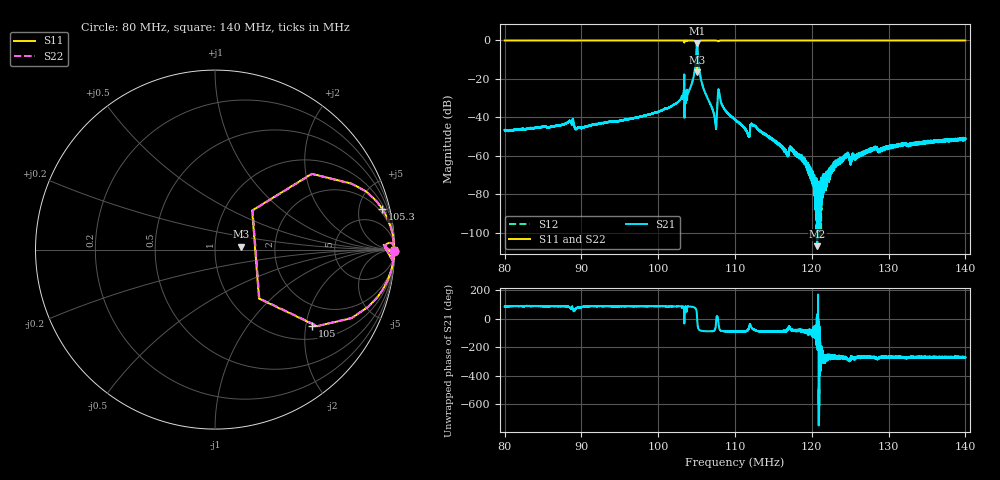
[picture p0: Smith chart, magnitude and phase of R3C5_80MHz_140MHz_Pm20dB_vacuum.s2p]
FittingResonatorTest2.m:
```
%Preconditioning 
clear all
close all
clc

%% Read file

%[filename1, pathname] = uigetfile('.s2p','Select the S-parameter file');
%filename = strcat(pathname, filename1);
currentFolder = pwd;

filename = '\Old optimization\Fitting test\R3C5_80MHz_140MHz_Pm20dB_vacuum.s2p';
filename = strcat(currentFolder,filename)
data = read(rfdata.data, filename);

freq = data.freq;
om=(2*pi).*freq;

%% Extract S-parameters
s_params = extract(data, 'S_PARAMETERS',50);
s11 = squeeze(s_params(1,1,:));
s12 = squeeze(s_params(1,2,:));
s21 = squeeze(s_params(2,1,:));
s22 = squeeze(s_params(2,2,:));

% Read Y-parameters
y_params = s2y(s_params, 50);
y11 = squeeze(y_params(1,1,:));
y12 = squeeze(y_params(1,2,:));
y21 = squeeze(y_params(2,1,:));
y22 = squeeze(y_params(2,2,:));

%% Fitting test

%x = [C0, Q, kt2];

Ydata = -y12;
[Ymax, posYmax] = max(abs(Ydata));
fs = freq(posYmax);
oms = 2*pi*fs;

C0dummy = 100e-15;
Qsdummy = 1000;
kt2dummy = 0.1;
fsdummy = 100e6;

C0 = @(x) C0dummy*x(1); 
Qs = @(x) Qsdummy*x(2);
kt2 = @(x) kt2dummy*x(3);
fs = @(x) fsdummy*x(4);
oms = @(x) 2*pi*fs(x);

Rm = @(x) pi^2/8*1./(oms(x)*C0(x)*kt2(x)*Qs(x));
Lm = @(x) pi^2/8*1./(oms(x)^2*C0(x)*kt2(x));
Cm = @(x) 8/pi^2*C0(x).*kt2(x);

Yfit = @(x) 1i*om*C0(x) + 1./(Rm(x) + 1i*om*Lm(x) + 1./(1i*om*Cm(x)));

%F = @(x) sum(abs(Yfit(x) - Ydata)).^2;
%F = @(x) sum(abs(20*log10(abs(Yfit(x))) - 20*log10(abs(Ydata)))).^2;
F = @(x) sum(abs(angle(Yfit(x)) - angle(Ydata))).^2;

%% Optimization

%Initial guess
x0 = [1 1 1 1];

%Other parameters
A = [];                 %Matrix of linear inequalities unknown
b = [];                 %Vector of known linear inequalities parameters
Aeq = [];               %Matrix of linear equalities unknown
beq = [];               %Vector of known linear inequalities parameters
lb = zeros(4,1);        %Lower boundary (of each x(i))
lb(4) = freq(1)./fsdummy;
%ub = [];                %Upper boundary (of each x(i))
ub = [10 10 10 freq(end)./fsdummy];

%Options
options = optimset;
options.OptimalityTolerance = 0.1e-15;

%Optimization
[x, fval, ef, output, lambda] = fmincon(F, x0, A, b, Aeq, beq, lb, ub, [], options);

C0Fit = x(1)*C0dummy;
QsFit = x(2)*Qsdummy;
kt2Fit = x(3)*kt2dummy;
fsFit = x(4)*fsdummy;

figure(1)
plot(freq/1e6, 20*log10(abs(Ydata)),'LineWidth',3)
hold on
plot(freq/1e6, 20*log10(abs(Yfit(x))),'LineWidth',3)
xlabel('Frequency, {\itf} [MHz]')
ylabel('Admittance, {\itY} [dB]')
grid on
legend('Data','Fitting')

set(gcf,'color','white')
set(gca,'FontSize',13)
```
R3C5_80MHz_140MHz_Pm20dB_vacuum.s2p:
!Agilent Technologies,N5230A,MY45000988,A.06.04.32
!Agilent N5230A: A.06.04.32
!Date: Saturday, August 17, 2019 19:29:45
!Correction: S11(Full 2 Port(1,2)) S21(Full 2 Port(1,2)) S12(Full 2 Port(1,2)) S22(Full 2 Port(1,2))
!S2P File: Measurements: S11, S21, S12, S22:
# Hz S  RI  R 50
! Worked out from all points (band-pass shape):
!   16001 points, 80 MHz to 140 MHz, reference 50 ohm
!   highest |S21| = -1.41 dB at 105.1 MHz (marker M1); lowest = -107.0 dB at 120.7 MHz (marker M2)
!   |S21| within 3 dB of the highest: 105.0124 MHz to 105.1292 MHz (116.8 kHz wide, 0.111 % of centre)
!   lowest |S11| = -16.7 dB at 105.1 MHz (marker M3), VSWR 1.34, Z = 67.1 + j2.25 ohm
!   |S11| at or under -10 dB: 105.0539 MHz to 105.0887 MHz (34.83 kHz wide, 0.0331 % of centre)
!   |S22| runs from -16.5 to 0.0 dB; largest |S21 - S12| = 0.0025
!   S11 on the Smith chart (normalised r, x): 80 MHz: open; 105 MHz: 1.34, -2.17; 105.3 MHz: 1.44, +8.14; 140 MHz: open
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8e7  0.9979 -0.00568  0.000312 0.00459  0.000198 0.00461  0.9976 -0.00649
1.001225e8  0.9975 -0.0164  0.000485 0.0144  0.000394 0.0142  0.9977 -0.0172
1.037075e8  0.9954 -0.0432  0.00261 0.0401  0.00271 0.0401  0.9955 -0.0427
1.050162e8  0.5403 -0.4258  0.4564 0.4226  0.4558 0.4226  0.5432 -0.4252
1.050725e8  0.146 0.0164  0.8501 -0.0188  0.8507 -0.0207  0.1486 0.0171
1.05275e8  0.9324 0.2255  0.0653 -0.2279  0.0652 -0.2276  0.9333 0.2244
1.073225e8  0.9968 0.00688  0.00162 -0.0102  0.00168 -0.0101  0.9965 0.00787
1.1e8  0.9976 0.00528  0.000153 -0.0087  3.77e-05 -0.00861  0.9979 0.00597
1.207025e8  0.9978 -0.00179  3.77e-06 2.4e-06  -6.81e-05 -0.000106  0.9976 -0.00377
1.245088e8  0.9973 -0.00247  0.000223 0.00101  0.000153 0.000969  0.9973 -0.00477
1.4e8  0.9979 -0.00402  8.65e-05 0.00288  -9.99e-05 0.00269  0.9977 -0.00771
